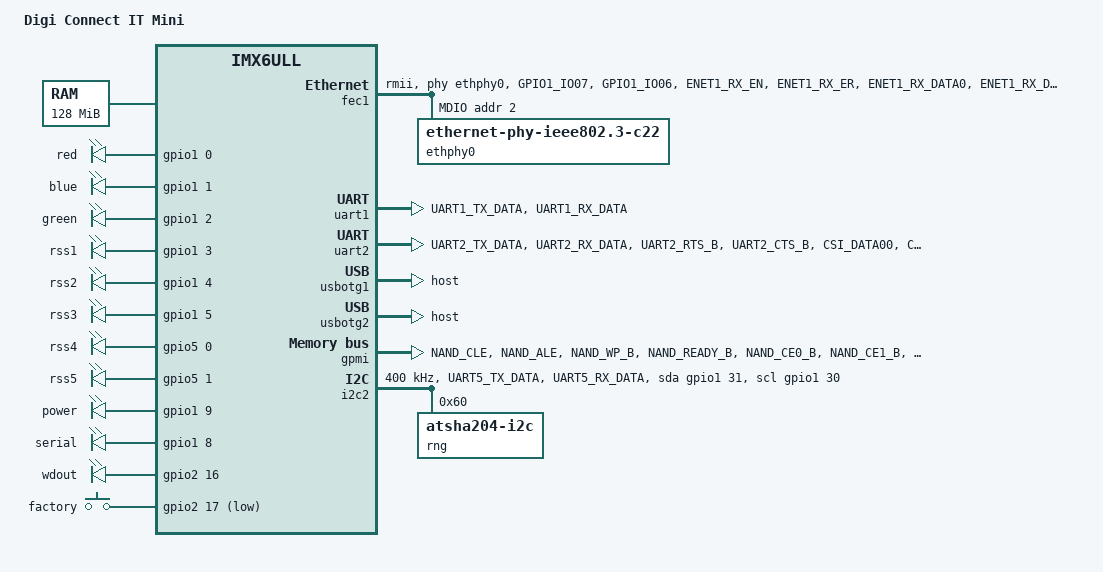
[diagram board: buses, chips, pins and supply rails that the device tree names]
/*
 * Copyright (C) 2016 Freescale Semiconductor, Inc.
 * Copyright (C) 2017-2018 Accelerated Concepts Pty Ltd
 *
 * This program is free software; you can redistribute it and/or modify
 * it under the terms of the GNU General Public License version 2 as
 * published by the Free Software Foundation.
 */

/dts-v1/;

#include "imx6ull.dtsi"
#include "imx6-pstore-128MB.dtsi"

/ {
	model = "Digi Connect IT Mini";
	compatible = "digi,connectit-mini", "fsl,imx6ull";

	chosen {
		stdout-path = &uart1;
	};

	memory {
		device_type = "memory";
		reg = <0x80000000 0x8000000>;
	};

	cpus {
		cpu0: cpu@0 {
			operating-points = <
                                /* kHz  uV */
                                900000  1275000
                                792000  1225000
                                528000  1175000
                                396000  1025000
                                198000  950000
                        >;
                        fsl,soc-operating-points = <
                                /* KHz  uV */
                                900000  1275000
                                792000  1175000
                                528000  1175000
                                396000  1175000
                                198000  1175000
                        >;
		};
	};

	regulators {
		compatible = "simple-bus";
		#address-cells = <1>;
		#size-cells = <0>;
	};

	leds {
		compatible = "gpio-leds";

		red-led {
			label = "red";
			pinctrl-names = "default";
			pinctrl-0 = <&pinctrl_leds>;
			gpios = <&gpio1 0 GPIO_ACTIVE_HIGH>;
			linux,default-trigger = "none";
		};

		blue-led {
			label = "blue";
			pinctrl-names = "default";
			pinctrl-0 = <&pinctrl_leds>;
			gpios = <&gpio1 1 GPIO_ACTIVE_HIGH>;
			linux,default-trigger = "none";
		};

		green-led {
			label = "green";
			pinctrl-names = "default";
			pinctrl-0 = <&pinctrl_leds>;
			gpios = <&gpio1 2 GPIO_ACTIVE_HIGH>;
			linux,default-trigger = "none";
		};

		rss1-led {
			label = "rss1";
			pinctrl-names = "default";
			pinctrl-0 = <&pinctrl_leds>;
			gpios = <&gpio1 3 GPIO_ACTIVE_HIGH>;
			linux,default-trigger = "none";
		};

		rss2-led {
			label = "rss2";
			pinctrl-names = "default";
			pinctrl-0 = <&pinctrl_leds>;
			gpios = <&gpio1 4 GPIO_ACTIVE_HIGH>;
			linux,default-trigger = "none";
		};

		rss3-led {
			label = "rss3";
			pinctrl-names = "default";
			pinctrl-0 = <&pinctrl_leds>;
			gpios = <&gpio1 5 GPIO_ACTIVE_HIGH>;
			linux,default-trigger = "none";
		};

		rss4-led {
			label = "rss4";
			pinctrl-names = "default";
			pinctrl-0 = <&pinctrl_leds>;
			gpios = <&gpio5 0 GPIO_ACTIVE_HIGH>;
			linux,default-trigger = "none";
		};

		rss5-led {
			label = "rss5";
			pinctrl-names = "default";
			pinctrl-0 = <&pinctrl_leds>;
			gpios = <&gpio5 1 GPIO_ACTIVE_HIGH>;
			linux,default-trigger = "none";
		};

		power-led {
			label = "power";
			pinctrl-names = "default";
			pinctrl-0 = <&pinctrl_leds>;
			gpios = <&gpio1 9 GPIO_ACTIVE_HIGH>;
			linux,default-trigger = "none";
		};

		serial-led {
			label = "serial";
			pinctrl-names = "default";
			pinctrl-0 = <&pinctrl_leds>;
			gpios = <&gpio1 8 GPIO_ACTIVE_HIGH>;
			linux,default-trigger = "none";
		};
	};

	watchdog {
		compatible = "gpio-leds";

		wdout-gpio {
			label = "wdout";
			pinctrl-names = "default";
			pinctrl-0 = <&pinctrl_wdout>;
			gpios = <&gpio2 16 GPIO_ACTIVE_HIGH>;
			linux,default-trigger = "none";
		};
	};

	gpio-keys {
		compatible = "gpio-keys";

		factory-button {
			label = "factory";
			linux,code = <KEY_DELETE>;
			gpios = <&gpio2 17 GPIO_ACTIVE_LOW>;
		};
	};
};

&gpio1 {
	gpio-line-names = "", "", "", "", "", "", "", "",
			  "", "", "", "", "", "", "", "",
			  "", "", "", "", "", "", "", "",
			  "", "", "", "", "", "", "", "";
};

&gpio2 {
	gpio-line-names = "", "", "", "", "", "", "", "",
			  "", "", "", "", "", "", "", "",
			  "wdout", "factory", "MODEM_RDY", "", "CELL_PWR_EN", "", "", "",
			  "", "", "", "", "", "", "", "";
};

&gpio3 {
	gpio-line-names = "", "", "", "", "", "", "", "",
			  "", "", "", "", "", "", "", "",
			  "", "", "", "", "", "", "developer", "",
			  "", "", "", "", "", "", "", "";
};

&gpio4 {
	gpio-line-names = "", "", "", "", "", "", "", "",
			  "", "", "", "", "", "", "", "",
			  "", "", "", "", "", "", "", "",
			  "", "", "", "", "", "", "", "";
};

&gpio5 {
	gpio-line-names = "", "", "", "", "", "", "", "",
			  "", "", "", "", "", "", "", "",
			  "", "", "", "", "", "", "", "",
			  "", "", "", "", "", "", "", "";
};

&cpu0 {
	arm-supply = <&reg_arm>;
	soc-supply = <&reg_soc>;
};

&fec1 {
	pinctrl-names = "default";
	pinctrl-0 = <&pinctrl_enet1>;
	phy-mode = "rmii";
	phy-handle = <&ethphy0>;
	status = "okay";

	mdio {
		#address-cells = <1>;
		#size-cells = <0>;

		ethphy0: ethernet-phy@2 {
			compatible = "ethernet-phy-ieee802.3-c22";
			reg = <2>;
			clocks = <&clks IMX6UL_CLK_ENET_REF>;
			clock-names = "rmii-ref";
		};
	};
};

&uart1 {
	pinctrl-names = "default";
	pinctrl-0 = <&pinctrl_uart1>;
	status = "okay";
};

&uart2 {
	pinctrl-names = "default";
	pinctrl-0 = <&pinctrl_uart2>;
	uart-has-rtscts;
	dtr-gpios = <&gpio4 22 GPIO_ACTIVE_LOW>;
	dcd-gpios = <&gpio4 21 GPIO_ACTIVE_LOW>;
	status = "okay";
};

&usbotg1 {
	dr_mode = "host";
	status = "okay";
	/* Over-current is supported through a GPIO, which is not implemented yet */
	disable-over-current;
};

&usbotg2 {
	dr_mode = "host";
	status = "okay";
	disable-over-current;
};

&usbphy1 {
	tx-d-cal = <0x5>;
};

&usbphy2 {
	tx-d-cal = <0x5>;
};

&wdog1 {
	pinctrl-names = "default";
	pinctrl-0 = <&pinctrl_wdog>;
	fsl,wdog_b;
};

&gpmi {
	pinctrl-names = "default";
	pinctrl-0 = <&pinctrl_gpmi_nand>;
	status = "okay";
	fsl,legacy-bch-geometry;
	#size-cells = <1>;

	partition@0 {
		label="u-boot";
		reg = <0x00000000 0x00500000>;
	};
	partition@1 {
		label="u-boot-env";
		reg = <0x00500000 0x00100000>;
	};
	partition@2 {
		label="log";
		reg = <0x00600000 0x00200000>;
	};
	partition@3 {
		label="flash";
		reg = <0x00800000 0>;
	};
	partition@4 {
		label="all";
		reg = <0x00000000 0>;
	};
};

&i2c2 {
	clock-frequency = <400000>;
	pinctrl-names = "default", "gpio";
	pinctrl-0 = <&pinctrl_i2c2>;
	pinctrl-1 = <&pinctrl_i2c2_gpio>;
	scl-gpios = <&gpio1 30 (GPIO_ACTIVE_HIGH | GPIO_OPEN_DRAIN)>;
	sda-gpios = <&gpio1 31 (GPIO_ACTIVE_HIGH | GPIO_OPEN_DRAIN)>;
	status = "okay";

	rng: atecc508a@60 {
		compatible = "atsha204-i2c";
		reg = <0x60>;
	};
};

&iomuxc {
	pinctrl-names = "default";

	pinctrl_enet1: enet1grp {
		fsl,pins = <
			MX6UL_PAD_GPIO1_IO07__ENET1_MDC		0x1b0b0
			MX6UL_PAD_GPIO1_IO06__ENET1_MDIO	0x1b0b0
			MX6UL_PAD_ENET1_RX_EN__ENET1_RX_EN	0x1b0b0
			MX6UL_PAD_ENET1_RX_ER__ENET1_RX_ER	0x1b0b0
			MX6UL_PAD_ENET1_RX_DATA0__ENET1_RDATA00	0x1b0b0
			MX6UL_PAD_ENET1_RX_DATA1__ENET1_RDATA01	0x1b0b0
			MX6UL_PAD_ENET1_TX_EN__ENET1_TX_EN	0x1b0b0
			MX6UL_PAD_ENET1_TX_DATA0__ENET1_TDATA00	0x1b0b0
			MX6UL_PAD_ENET1_TX_DATA1__ENET1_TDATA01	0x1b0b0
			MX6UL_PAD_ENET1_TX_CLK__ENET1_REF_CLK1	0x4001b031
		>;
	};

	pinctrl_uart1: uart1grp {
		fsl,pins = <
			MX6UL_PAD_UART1_TX_DATA__UART1_DCE_TX 0x1b0b1
			MX6UL_PAD_UART1_RX_DATA__UART1_DCE_RX 0x1b0b1
		>;
	};

	pinctrl_uart2: uart2grp {
		fsl,pins = <
			MX6UL_PAD_UART2_TX_DATA__UART2_DCE_TX 0x1b0b1
			MX6UL_PAD_UART2_RX_DATA__UART2_DCE_RX 0x1b0b1
			MX6UL_PAD_UART2_RTS_B__UART2_DCE_RTS 0x1b0b1
			MX6UL_PAD_UART2_CTS_B__UART2_DCE_CTS 0x1b0b1
			MX6UL_PAD_CSI_DATA00__GPIO4_IO21 0x1b0b1
			MX6UL_PAD_CSI_DATA01__GPIO4_IO22 0x1b0b1
		>;
	};

	pinctrl_wdog: wdoggrp {
		fsl,pins = <
			MX6UL_PAD_LCD_RESET__WDOG1_WDOG_ANY    0x30b0
		>;
	};

	pinctrl_wdout: extwdoggrp {
		fsl,pins = <
			MX6UL_PAD_SD1_CMD__GPIO2_IO16	0x00010
		>;
	};

	pinctrl_gpmi_nand: gpmi-nand-1 {
		fsl,pins = <
			MX6UL_PAD_NAND_CLE__RAWNAND_CLE         0xb0b1
			MX6UL_PAD_NAND_ALE__RAWNAND_ALE         0xb0b1
			MX6UL_PAD_NAND_WP_B__RAWNAND_WP_B       0xb0b1
			MX6UL_PAD_NAND_READY_B__RAWNAND_READY_B 0xb000
			MX6UL_PAD_NAND_CE0_B__RAWNAND_CE0_B     0xb0b1
			MX6UL_PAD_NAND_CE1_B__RAWNAND_CE1_B     0xb0b1
			MX6UL_PAD_NAND_RE_B__RAWNAND_RE_B       0xb0b1
			MX6UL_PAD_NAND_WE_B__RAWNAND_WE_B       0xb0b1
			MX6UL_PAD_NAND_DATA00__RAWNAND_DATA00   0xb0b1
			MX6UL_PAD_NAND_DATA01__RAWNAND_DATA01   0xb0b1
			MX6UL_PAD_NAND_DATA02__RAWNAND_DATA02   0xb0b1
			MX6UL_PAD_NAND_DATA03__RAWNAND_DATA03   0xb0b1
			MX6UL_PAD_NAND_DATA04__RAWNAND_DATA04   0xb0b1
			MX6UL_PAD_NAND_DATA05__RAWNAND_DATA05   0xb0b1
			MX6UL_PAD_NAND_DATA06__RAWNAND_DATA06   0xb0b1
			MX6UL_PAD_NAND_DATA07__RAWNAND_DATA07   0xb0b1
		>;
	};

	pinctrl_leds: ledsgrp {
		fsl,pins = <
			MX6UL_PAD_GPIO1_IO00__GPIO1_IO00	0x00010
			MX6UL_PAD_GPIO1_IO01__GPIO1_IO01	0x00010
			MX6UL_PAD_GPIO1_IO02__GPIO1_IO02	0x00010
			MX6UL_PAD_GPIO1_IO03__GPIO1_IO03	0x00010
			MX6UL_PAD_GPIO1_IO04__GPIO1_IO04	0x00010
			MX6UL_PAD_GPIO1_IO05__GPIO1_IO05	0x00010
			MX6UL_PAD_GPIO1_IO08__GPIO1_IO08	0x00010
			MX6UL_PAD_GPIO1_IO09__GPIO1_IO09	0x00010
			MX6UL_PAD_SNVS_TAMPER0__GPIO5_IO00  0x00010
			MX6UL_PAD_SNVS_TAMPER1__GPIO5_IO01  0x00010
			MX6UL_PAD_SD1_CLK__GPIO2_IO17		0x00000
		>;
	};

	pinctrl_i2c2: i2c2grp {
		fsl,pins = <
			MX6UL_PAD_UART5_TX_DATA__I2C2_SCL	0x4001b8b0
			MX6UL_PAD_UART5_RX_DATA__I2C2_SDA	0x4001b8b0
		>;
	};

	pinctrl_i2c2_gpio: i2c2gpiogrp {
		fsl,pins = <
			MX6UL_PAD_UART5_TX_DATA__GPIO1_IO30	0x4001b8b0
			MX6UL_PAD_UART5_RX_DATA__GPIO1_IO31	0x4001b8b0
		>;
	};

	pinctrl_devkey: devkeygrp {
		fsl,pins = <
			MX6UL_PAD_LCD_DATA17__GPIO3_IO22	0x00000
		>;
	};
};

